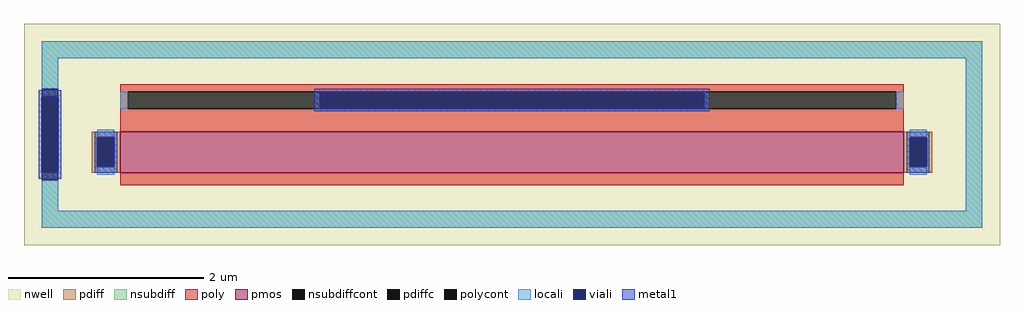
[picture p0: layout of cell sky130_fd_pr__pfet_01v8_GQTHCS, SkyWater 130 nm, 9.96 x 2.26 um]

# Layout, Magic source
magic
tech sky130A
magscale 1 2
<< nwell >>
rect -996 -226 996 226
<< pmos >>
rect -800 -78 800 6
<< pdiff >>
rect -858 -6 -800 6
rect -858 -66 -846 -6
rect -812 -66 -800 -6
rect -858 -78 -800 -66
rect 800 -6 858 6
rect 800 -66 812 -6
rect 846 -66 858 -6
rect 800 -78 858 -66
<< pdiffc >>
rect -846 -66 -812 -6
rect 812 -66 846 -6
<< nsubdiff >>
rect -960 156 960 190
rect -960 93 -926 156
rect -960 -156 -926 -93
rect 926 -156 960 156
rect -960 -190 960 -156
<< nsubdiffcont >>
rect -960 -93 -926 93
<< poly >>
rect -800 87 800 103
rect -800 53 -784 87
rect 784 53 800 87
rect -800 6 800 53
rect -800 -104 800 -78
<< polycont >>
rect -784 53 784 87
<< locali >>
rect -960 156 960 190
rect -960 93 -926 156
rect -800 53 -784 87
rect 784 53 800 87
rect -846 -6 -812 10
rect -846 -82 -812 -66
rect 812 -6 846 10
rect 812 -82 846 -66
rect -960 -156 -926 -93
rect 926 -156 960 156
rect -960 -190 960 -156
<< viali >>
rect -960 -78 -926 78
rect -392 53 392 87
rect -846 -66 -812 -6
rect 812 -66 846 -6
<< metal1 >>
rect -966 78 -920 90
rect -966 -78 -960 78
rect -926 -78 -920 78
rect -404 87 404 93
rect -404 53 -392 87
rect 392 53 404 87
rect -404 47 404 53
rect -852 -6 -806 6
rect -852 -66 -846 -6
rect -812 -66 -806 -6
rect -852 -78 -806 -66
rect 806 -6 852 6
rect 806 -66 812 -6
rect 846 -66 852 -6
rect 806 -78 852 -66
rect -966 -90 -920 -78
<< properties >>
string FIXED_BBOX -943 -173 943 173
string gencell sky130_fd_pr__pfet_01v8
string library sky130
string parameters w 0.42 l 8.0 m 1 nf 1 diffcov 100 polycov 100 guard 1 glc 1 grc 0 gtc 0 gbc 0 tbcov 100 rlcov 100 topc 1 botc 0 poverlap 0 doverlap 1 lmin 0.15 wmin 0.42 compatible {sky130_fd_pr__pfet_01v8  sky130_fd_pr__pfet_01v8_lvt sky130_fd_pr__pfet_01v8_hvt  sky130_fd_pr__pfet_g5v0d10v5} full_metal 1 viasrc 100 viadrn 100 viagate 50 viagb 0 viagr 0 viagl 50 viagt 0
<< end >>
